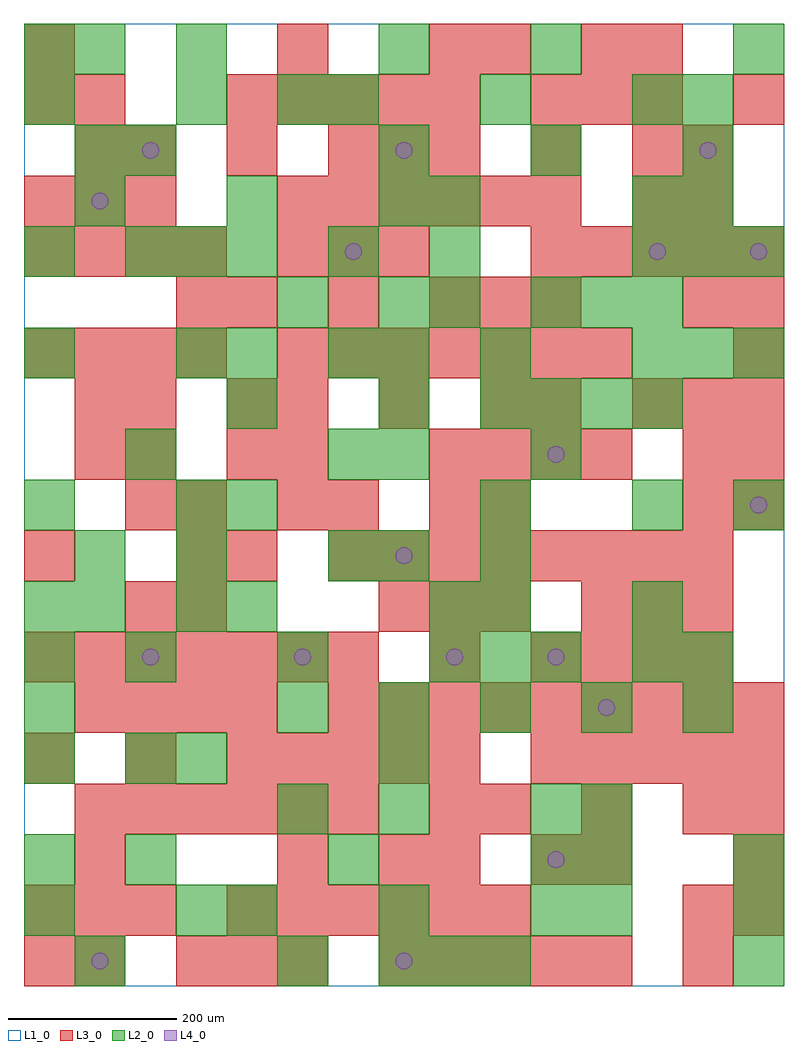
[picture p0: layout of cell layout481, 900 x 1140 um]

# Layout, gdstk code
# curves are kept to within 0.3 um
import gdstk
lib = gdstk.Library(unit=1e-6, precision=1e-09)
def R(c, l, rs):  # rectangles x0, y0, x1, y1
    for r in rs: c.add(gdstk.rectangle(r[:2], r[2:], *l))
def A(c, l, x, y, w, h, nx, ny, dx, dy):  # array of equal rectangles
    R(c, l, [(x+i*dx, y+j*dy, x+i*dx+w, y+j*dy+h) for i in range(nx) for j in range(ny)])
def P(c, l, *ps):  # polygons
    for p in ps: c.add(gdstk.Polygon(p, *l))
L1_0 = (1, 0)
L2_0 = (2, 0)
L3_0 = (3, 0)
L4_0 = (4, 0)

layout481 = lib.new_cell('layout481')
R(layout481, L1_0, [(0,0,900,1140)])
A(layout481, L2_0, 420, 0, 60, 60, 3, 1, 60, 0)
A(layout481, L2_0, 840, 0, 60, 60, 1, 3, 0, 60)
A(layout481, L2_0, 180, 60, 60, 60, 1, 3, 0, 180)
A(layout481, L2_0, 240, 60, 60, 60, 3, 1, 180, 0)
A(layout481, L2_0, 660, 60, 60, 60, 1, 3, 0, 60)
A(layout481, L2_0, 120, 120, 60, 60, 3, 1, 240, 0)
A(layout481, L2_0, 0, 240, 60, 60, 1, 4, 0, 60)
A(layout481, L2_0, 120, 240, 60, 60, 1, 3, 0, 360)
A(layout481, L2_0, 300, 300, 60, 60, 5, 1, 120, 0)
A(layout481, L2_0, 120, 360, 60, 60, 3, 1, 180, 0)
A(layout481, L2_0, 540, 360, 60, 60, 1, 4, 0, 60)
A(layout481, L2_0, 240, 420, 60, 60, 1, 3, 0, 120)
A(layout481, L2_0, 360, 480, 60, 60, 1, 4, 0, 120)
A(layout481, L2_0, 420, 600, 60, 60, 1, 4, 0, 60)
A(layout481, L2_0, 540, 660, 60, 60, 4, 1, 60, 0)
A(layout481, L2_0, 720, 720, 60, 60, 3, 2, 60, 120)
A(layout481, L2_0, 480, 780, 60, 60, 1, 3, 0, 60)
A(layout481, L2_0, 600, 780, 60, 60, 3, 1, 60, 0)
A(layout481, L2_0, 120, 840, 60, 60, 3, 1, 60, 0)
A(layout481, L2_0, 60, 900, 60, 60, 3, 1, 180, 0)
A(layout481, L2_0, 420, 960, 60, 60, 3, 1, 180, 0)
A(layout481, L2_0, 360, 1020, 60, 60, 3, 1, 180, 0)
R(layout481, L2_0, [(60,0,120,60), (300,0,360,60), (0,60,60,120), (0,120,60,180), (300,180,360,240), (420,180,480,240), (600,180,660,240), (420,240,480,300), (600,360,660,420), (720,360,780,420), (780,360,840,420), (60,420,120,480), (480,420,540,480), (720,420,780,480), (60,480,120,540), (180,480,240,540), (420,480,480,540), (0,540,60,600), (180,540,240,600), (720,540,780,600), (840,540,900,600), (600,600,660,660), (0,720,60,780), (180,720,240,780), (240,720,300,780), (540,720,600,780), (300,780,360,840), (0,840,60,900), (720,900,780,960), (780,900,840,960), (60,960,120,1020), (0,1020,60,1080), (180,1020,240,1080), (300,1020,360,1080), (780,1020,840,1080), (0,1080,60,1140), (60,1080,120,1140), (180,1080,240,1140), (420,1080,480,1140), (600,1080,660,1140), (840,1080,900,1140)])
A(layout481, L3_0, 180, 0, 60, 60, 3, 1, 60, 0)
A(layout481, L3_0, 420, 0, 60, 60, 5, 1, 60, 0)
A(layout481, L3_0, 0, 60, 60, 60, 3, 2, 60, 840)
A(layout481, L3_0, 240, 60, 60, 60, 6, 1, 60, 0)
A(layout481, L3_0, 840, 60, 60, 60, 1, 3, 0, 60)
A(layout481, L3_0, 60, 180, 60, 60, 6, 1, 60, 0)
A(layout481, L3_0, 480, 180, 60, 60, 1, 3, 0, 180)
A(layout481, L3_0, 540, 180, 60, 60, 3, 1, 120, 0)
A(layout481, L3_0, 0, 240, 60, 60, 3, 1, 120, 0)
A(layout481, L3_0, 300, 240, 60, 60, 4, 1, 60, 0)
A(layout481, L3_0, 600, 240, 60, 60, 5, 2, 60, 600)
A(layout481, L3_0, 60, 300, 60, 60, 4, 1, 60, 0)
A(layout481, L3_0, 360, 300, 60, 60, 9, 1, 60, 0)
A(layout481, L3_0, 0, 360, 60, 60, 7, 1, 60, 0)
A(layout481, L3_0, 600, 360, 60, 60, 4, 1, 60, 0)
A(layout481, L3_0, 180, 420, 60, 60, 1, 3, 0, 60)
A(layout481, L3_0, 420, 420, 60, 60, 3, 1, 60, 0)
A(layout481, L3_0, 660, 420, 60, 60, 3, 1, 60, 0)
A(layout481, L3_0, 360, 480, 60, 60, 8, 1, 60, 0)
A(layout481, L3_0, 120, 540, 60, 60, 1, 3, 0, 60)
A(layout481, L3_0, 480, 600, 60, 60, 4, 1, 60, 0)
A(layout481, L3_0, 300, 660, 60, 60, 3, 1, 120, 0)
A(layout481, L3_0, 720, 660, 60, 60, 3, 1, 60, 0)
A(layout481, L3_0, 0, 720, 60, 60, 4, 2, 60, 120)
A(layout481, L3_0, 300, 720, 60, 60, 7, 1, 60, 0)
A(layout481, L3_0, 240, 780, 60, 60, 3, 1, 120, 0)
A(layout481, L3_0, 300, 840, 60, 60, 3, 1, 60, 0)
A(layout481, L3_0, 300, 900, 60, 60, 6, 1, 60, 0)
A(layout481, L3_0, 120, 960, 60, 60, 3, 1, 120, 0)
A(layout481, L3_0, 480, 960, 60, 60, 3, 1, 120, 0)
A(layout481, L3_0, 240, 1020, 60, 60, 5, 1, 60, 0)
A(layout481, L3_0, 600, 1020, 60, 60, 3, 1, 60, 0)
R(layout481, L3_0, [(0,0,60,60), (60,0,120,60), (780,0,840,60), (780,60,840,120), (60,120,120,180), (300,120,360,180), (420,120,480,180), (480,120,540,180), (600,120,660,180), (660,120,720,180), (120,420,180,480), (0,480,60,540), (240,480,300,540), (300,540,360,600), (360,540,420,600), (540,540,600,600), (780,540,840,600), (840,540,900,600), (60,600,120,660), (240,600,300,660), (300,600,360,660), (780,600,840,660), (840,600,900,660), (60,660,120,720), (240,660,300,720), (600,660,660,720), (840,720,900,780), (180,780,240,840), (540,780,600,840), (600,780,660,840), (780,780,840,840), (840,780,900,840), (720,900,780,960), (780,900,840,960), (60,960,120,1020), (420,960,480,1020), (780,960,840,1020), (0,1020,60,1080), (60,1020,120,1080), (840,1020,900,1080), (0,1080,60,1140), (300,1080,360,1140), (480,1080,540,1140), (540,1080,600,1140), (660,1080,720,1140), (720,1080,780,1140)])
P(layout481, L4_0, [(100,30),(99.239,33.827),(97.071,37.071),(93.827,39.239),(90,40),(86.173,39.239),(82.929,37.071),(80.761,33.827),(80,30),(80.761,26.173),(82.929,22.929),(86.173,20.761),(90,20),(93.827,20.761),(97.071,22.929),(99.239,26.173)],
  [(100,930),(99.239,933.827),(97.071,937.071),(93.827,939.239),(90,940),(86.173,939.239),(82.929,937.071),(80.761,933.827),(80,930),(80.761,926.173),(82.929,922.929),(86.173,920.761),(90,920),(93.827,920.761),(97.071,922.929),(99.239,926.173)],
  [(160,390),(159.239,393.827),(157.071,397.071),(153.827,399.239),(150,400),(146.173,399.239),(142.929,397.071),(140.761,393.827),(140,390),(140.761,386.173),(142.929,382.929),(146.173,380.761),(150,380),(153.827,380.761),(157.071,382.929),(159.239,386.173)],
  [(160,990),(159.239,993.827),(157.071,997.071),(153.827,999.239),(150,1000),(146.173,999.239),(142.929,997.071),(140.761,993.827),(140,990),(140.761,986.173),(142.929,982.929),(146.173,980.761),(150,980),(153.827,980.761),(157.071,982.929),(159.239,986.173)],
  [(340,390),(339.239,393.827),(337.071,397.071),(333.827,399.239),(330,400),(326.173,399.239),(322.929,397.071),(320.761,393.827),(320,390),(320.761,386.173),(322.929,382.929),(326.173,380.761),(330,380),(333.827,380.761),(337.071,382.929),(339.239,386.173)],
  [(400,870),(399.239,873.827),(397.071,877.071),(393.827,879.239),(390,880),(386.173,879.239),(382.929,877.071),(380.761,873.827),(380,870),(380.761,866.173),(382.929,862.929),(386.173,860.761),(390,860),(393.827,860.761),(397.071,862.929),(399.239,866.173)],
  [(460,30),(459.239,33.827),(457.071,37.071),(453.827,39.239),(450,40),(446.173,39.239),(442.929,37.071),(440.761,33.827),(440,30),(440.761,26.173),(442.929,22.929),(446.173,20.761),(450,20),(453.827,20.761),(457.071,22.929),(459.239,26.173)],
  [(460,510),(459.239,513.827),(457.071,517.071),(453.827,519.239),(450,520),(446.173,519.239),(442.929,517.071),(440.761,513.827),(440,510),(440.761,506.173),(442.929,502.929),(446.173,500.761),(450,500),(453.827,500.761),(457.071,502.929),(459.239,506.173)],
  [(460,990),(459.239,993.827),(457.071,997.071),(453.827,999.239),(450,1000),(446.173,999.239),(442.929,997.071),(440.761,993.827),(440,990),(440.761,986.173),(442.929,982.929),(446.173,980.761),(450,980),(453.827,980.761),(457.071,982.929),(459.239,986.173)],
  [(520,390),(519.239,393.827),(517.071,397.071),(513.827,399.239),(510,400),(506.173,399.239),(502.929,397.071),(500.761,393.827),(500,390),(500.761,386.173),(502.929,382.929),(506.173,380.761),(510,380),(513.827,380.761),(517.071,382.929),(519.239,386.173)],
  [(640,150),(639.239,153.827),(637.071,157.071),(633.827,159.239),(630,160),(626.173,159.239),(622.929,157.071),(620.761,153.827),(620,150),(620.761,146.173),(622.929,142.929),(626.173,140.761),(630,140),(633.827,140.761),(637.071,142.929),(639.239,146.173)],
  [(640,390),(639.239,393.827),(637.071,397.071),(633.827,399.239),(630,400),(626.173,399.239),(622.929,397.071),(620.761,393.827),(620,390),(620.761,386.173),(622.929,382.929),(626.173,380.761),(630,380),(633.827,380.761),(637.071,382.929),(639.239,386.173)],
  [(640,630),(639.239,633.827),(637.071,637.071),(633.827,639.239),(630,640),(626.173,639.239),(622.929,637.071),(620.761,633.827),(620,630),(620.761,626.173),(622.929,622.929),(626.173,620.761),(630,620),(633.827,620.761),(637.071,622.929),(639.239,626.173)],
  [(700,330),(699.239,333.827),(697.071,337.071),(693.827,339.239),(690,340),(686.173,339.239),(682.929,337.071),(680.761,333.827),(680,330),(680.761,326.173),(682.929,322.929),(686.173,320.761),(690,320),(693.827,320.761),(697.071,322.929),(699.239,326.173)],
  [(760,870),(759.239,873.827),(757.071,877.071),(753.827,879.239),(750,880),(746.173,879.239),(742.929,877.071),(740.761,873.827),(740,870),(740.761,866.173),(742.929,862.929),(746.173,860.761),(750,860),(753.827,860.761),(757.071,862.929),(759.239,866.173)],
  [(820,990),(819.239,993.827),(817.071,997.071),(813.827,999.239),(810,1000),(806.173,999.239),(802.929,997.071),(800.761,993.827),(800,990),(800.761,986.173),(802.929,982.929),(806.173,980.761),(810,980),(813.827,980.761),(817.071,982.929),(819.239,986.173)],
  [(880,570),(879.239,573.827),(877.071,577.071),(873.827,579.239),(870,580),(866.173,579.239),(862.929,577.071),(860.761,573.827),(860,570),(860.761,566.173),(862.929,562.929),(866.173,560.761),(870,560),(873.827,560.761),(877.071,562.929),(879.239,566.173)],
  [(880,870),(879.239,873.827),(877.071,877.071),(873.827,879.239),(870,880),(866.173,879.239),(862.929,877.071),(860.761,873.827),(860,870),(860.761,866.173),(862.929,862.929),(866.173,860.761),(870,860),(873.827,860.761),(877.071,862.929),(879.239,866.173)])

lib.write_gds('layout481.gds')
